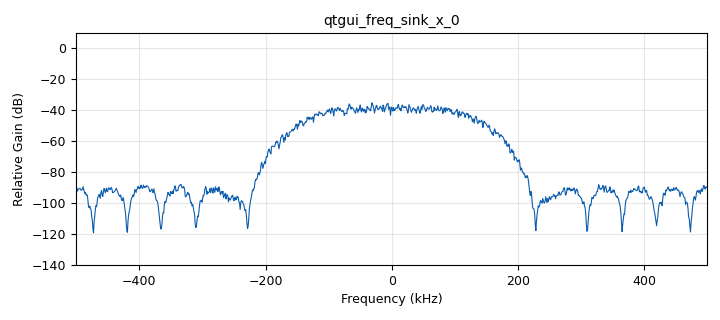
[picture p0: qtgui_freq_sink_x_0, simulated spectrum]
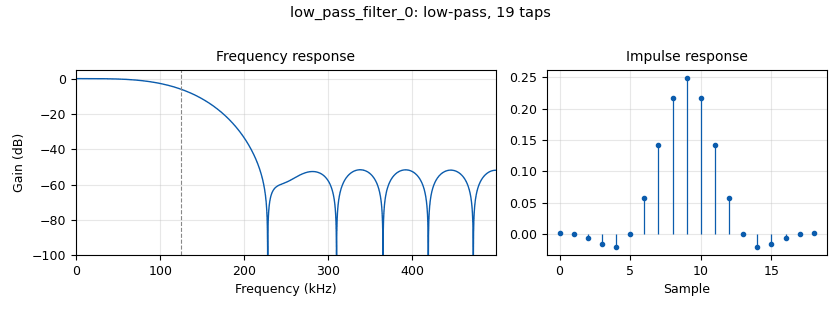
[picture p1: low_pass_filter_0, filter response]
options:
  parameters:
    generate_options: qt_gui
    id: top_black
    output_language: python
    title: Not titled yet
  states: {}

blocks:
- name: cutoff
  id: variable_qtgui_range
  parameters:
    min_len: '1'
    orient: Qt.Horizontal
    start: samp_rate/1000
    step: '1000'
    stop: samp_rate/2
    value: samp_rate/8
    widget: counter
  states: {}
- name: samp_rate
  id: variable
  parameters:
    value: 1e6
  states: {}
- name: transition_width
  id: variable_qtgui_range
  parameters:
    orient: Qt.Horizontal
    start: samp_rate/1000
    step: '1000'
    stop: samp_rate/2
    value: samp_rate/8
  states: {}
- name: analog_noise_source_x_0
  id: analog_noise_source_x
  parameters:
    amp: '1'
    noise_type: analog.GR_GAUSSIAN
    seed: '0'
    type: complex
  states: {}
- name: blocks_throttle_0
  id: blocks_throttle
  parameters:
    samples_per_second: samp_rate
    type: complex
  states: {}
- name: low_pass_filter_0
  id: low_pass_filter
  parameters:
    cutoff_freq: cutoff
    decim: '1'
    gain: '1'
    samp_rate: samp_rate
    type: fir_filter_ccf
    width: transition_width
    win: firdes.WIN_HAMMING
  states: {}
- name: qtgui_freq_sink_x_0
  id: qtgui_freq_sink_x
  parameters:
    average: '0.1'
    bw: samp_rate
    fc: '0'
    fftsize: '1024'
    type: complex
    wintype: firdes.WIN_BLACKMAN_hARRIS
  states: {}

connections:
- [analog_noise_source_x_0, '0', blocks_throttle_0, '0']
- [blocks_throttle_0, '0', low_pass_filter_0, '0']
- [low_pass_filter_0, '0', qtgui_freq_sink_x_0, '0']

metadata:
  file_format: 1
